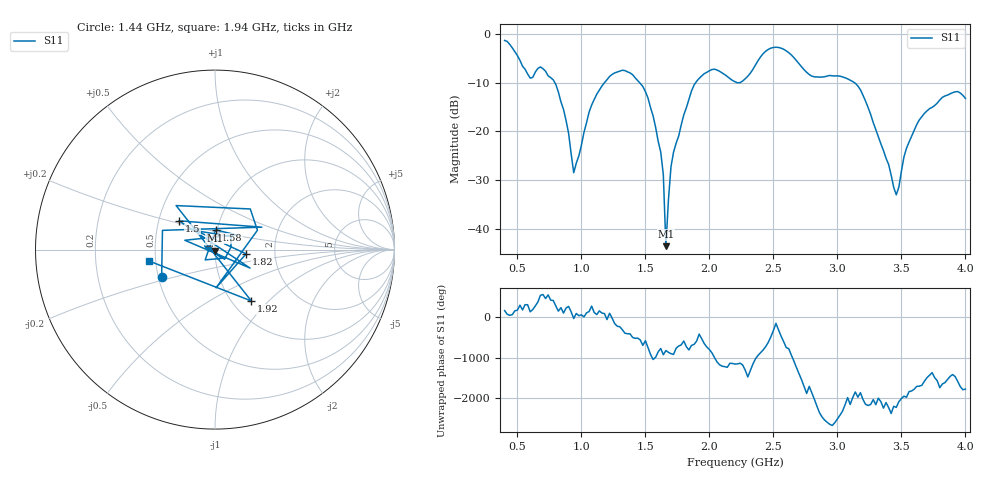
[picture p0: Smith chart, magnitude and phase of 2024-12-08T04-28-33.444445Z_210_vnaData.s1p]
!Created with skrf (http://scikit-rf.org).
# Hz S RI R 50.0
!freq ReS11 ImS11
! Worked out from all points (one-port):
!   181 points, 400 MHz to 4 GHz, reference 50 ohm
!   lowest |S11| = -43.6 dB at 1.66 GHz (marker M1), VSWR 1.01, Z = 49.8 - j0.642 ohm
!   |S11| at or under -10 dB: 793 MHz to 1.18 GHz (386.7 MHz wide, 39.2 % of centre); 1.456 GHz to 1.892 GHz (436.5 MHz wide, 26.1 % of centre); 3.134 GHz to end of sweep (the widest 3 of 4)
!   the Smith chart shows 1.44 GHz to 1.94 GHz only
!   S11 on the Smith chart (normalised r, x): 1.44 GHz: 0.52, -0.18; 1.5 GHz: 0.64, +0.22; 1.58 GHz: 0.98, +0.22; 1.82 GHz: 1.42, -0.07; 1.92 GHz: 1.22, -0.80; 1.94 GHz: 0.46, -0.07
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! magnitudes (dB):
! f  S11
! 400 MHz  -1.3
! 600 MHz  -9.0
! 680 MHz  -6.8
! 780 MHz  -9.4
! 860 MHz  -15.5
! 940 MHz  -28.5
! 1.08 GHz  -14.6
! 1.3 GHz  -7.6
! 1.44 GHz  -9.5
! 1.5 GHz  -11.8
! 1.58 GHz  -19.2
! 1.64 GHz  -28.9
! 1.66 GHz  -43.6
! 1.7 GHz  -27.2
! 1.76 GHz  -20.9
! 1.82 GHz  -15.1
! 1.92 GHz  -9.1
! 1.94 GHz  -8.6
! 2.2 GHz  -9.8
! 2.48 GHz  -2.9
! 2.66 GHz  -4.8
! 2.8 GHz  -8.6
! 3.1 GHz  -9.5
! 3.22 GHz  -13.8
! 3.46 GHz  -33.0
! 3.56 GHz  -22.2
! 3.82 GHz  -13.0
! 4 GHz  -13.2
